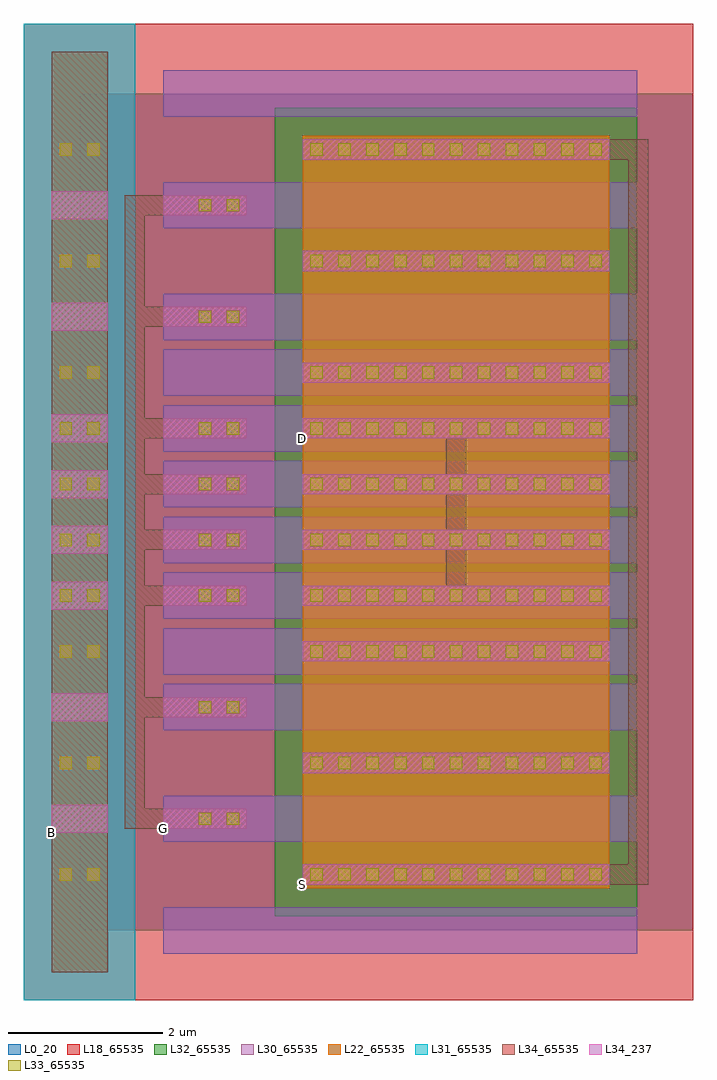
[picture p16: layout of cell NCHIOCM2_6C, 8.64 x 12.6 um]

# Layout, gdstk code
import gdstk
lib = gdstk.Library(unit=1e-6, precision=1e-09)
def R(c, l, rs):  # rectangles x0, y0, x1, y1
    for r in rs: c.add(gdstk.rectangle(r[:2], r[2:], *l))
def A(c, l, x, y, w, h, nx, ny, dx, dy):  # array of equal rectangles
    R(c, l, [(x+i*dx, y+j*dy, x+i*dx+w, y+j*dy+h) for i in range(nx) for j in range(ny)])
L0_20 = (0, 20)
L18_65535 = (18, 65535)
L22_65535 = (22, 65535)
L30_65535 = (30, 65535)
L31_65535 = (31, 65535)
L32_65535 = (32, 65535)
L33_65535 = (33, 65535)
L34_237 = (34, 237)
L34_65535 = (34, 65535)

nchio_6c = lib.new_cell('NCHIO_6C')
R(nchio_6c, L0_20, [(0,0,7.92,2.88)])
R(nchio_6c, L18_65535, [(-0.72,-0.9,7.92,3.78)])
A(nchio_6c, L22_65535, -0.36, -0.54, 0.72, 0.36, 1, 11, 0, 0.36)
A(nchio_6c, L22_65535, 2.88, 0.54, 3.96, 0.36, 1, 5, 0, 0.36)
A(nchio_6c, L30_65535, 1.08, -0.3, 6.12, 0.6, 1, 3, 0, 1.44)
R(nchio_6c, L31_65535, [(-0.72,-0.9,0.72,3.78)])
R(nchio_6c, L32_65535, [(2.52,0.18,7.2,2.7)])
A(nchio_6c, L33_65535, 2.98, 0.64, 0.16, 0.16, 11, 2, 0.36, 1.44)
R(nchio_6c, L33_65535, [(-0.26,0.64,-0.1,0.8), (0.1,0.64,0.26,0.8), (1.54,1.36,1.7,1.52), (1.9,1.36,2.06,1.52), (-0.26,2.08,-0.1,2.24), (0.1,2.08,0.26,2.24)])
R(nchio_6c, L34_237, [(2.88,0.59,6.84,0.85), (-0.36,1.26,0.36,1.62), (1.08,1.31,2.16,1.57), (2.88,2.03,6.84,2.29)])
A(nchio_6c, L34_65535, -0.36, -0.54, 0.72, 0.36, 1, 11, 0, 0.36)
R(nchio_6c, L34_65535, [(2.88,0.59,6.84,0.85), (1.08,1.31,2.16,1.57), (2.88,2.03,6.84,2.29)])
nchio_6c.add(gdstk.Label('G', (1.08,1.31), layer=34, texttype=237))
nchio_6c.add(gdstk.Label('S', (2.88,0.59), layer=34, texttype=237))
nchio_6c.add(gdstk.Label('B', (-0.36,1.26), layer=34, texttype=237))
nchio_6c.add(gdstk.Label('D', (2.88,2.03), layer=34, texttype=237))

nchiocm_6c = lib.new_cell('NCHIOCM_6C')
R(nchiocm_6c, L0_20, [(0,0,7.92,7.2)])
R(nchiocm_6c, L34_237, [(2.88,0.59,6.84,0.85), (1.08,1.31,2.16,1.57), (2.88,6.35,6.84,6.61)])
A(nchiocm_6c, L34_65535, 0.58, 1.31, 1.04, 0.26, 1, 4, 0, 1.44)
R(nchiocm_6c, L34_65535, [(0.58,1.31,0.84,5.89)])
nchiocm_6c.add(gdstk.Reference(nchio_6c, (0,0)))
nchiocm_6c.add(gdstk.Reference(nchio_6c, (0,1.44)))
nchiocm_6c.add(gdstk.Reference(nchio_6c, (0,2.88)))
nchiocm_6c.add(gdstk.Reference(nchio_6c, (0,4.32)))
nchiocm_6c.add(gdstk.Label('G', (1.08,1.31), layer=58, texttype=65535))
nchiocm_6c.add(gdstk.Label('D', (2.88,6.35), layer=34, texttype=237))
nchiocm_6c.add(gdstk.Label('G', (1.08,1.31), layer=34, texttype=237))
nchiocm_6c.add(gdstk.Label('S', (2.88,0.59), layer=34, texttype=237))

nchiocm2_6c = lib.new_cell('NCHIOCM2_6C')
R(nchiocm2_6c, L0_20, [(0,0,7.92,10.8)])
R(nchiocm2_6c, L34_237, [(2.88,0.59,6.84,0.85), (-0.36,1.26,0.36,1.62), (1.08,1.31,2.16,1.57), (2.88,6.35,6.84,6.61)])
R(nchiocm2_6c, L34_65535, [(4.86,0.59,7.08,0.85), (7.08,0.59,7.34,10.21), (0.58,1.31,1.62,1.57), (0.58,1.31,0.84,5.17), (4.73,4.19,4.99,6.61), (0.58,4.91,1.62,5.17), (4.86,9.95,7.08,10.21)])
nchiocm2_6c.add(gdstk.Reference(nchiocm_6c, (0,0)))
nchiocm2_6c.add(gdstk.Reference(nchiocm_6c, (0,3.6)))
nchiocm2_6c.add(gdstk.Label('S', (2.88,0.59), layer=58, texttype=65535))
nchiocm2_6c.add(gdstk.Label('G', (1.08,1.31), layer=58, texttype=65535))
nchiocm2_6c.add(gdstk.Label('D', (2.88,6.35), layer=58, texttype=65535))
nchiocm2_6c.add(gdstk.Label('B', (-0.36,1.26), layer=34, texttype=237))
nchiocm2_6c.add(gdstk.Label('D', (2.88,6.35), layer=34, texttype=237))
nchiocm2_6c.add(gdstk.Label('G', (1.08,1.31), layer=34, texttype=237))
nchiocm2_6c.add(gdstk.Label('S', (2.88,0.59), layer=34, texttype=237))

lib.write_gds('NCHIOCM2_6C.gds')
